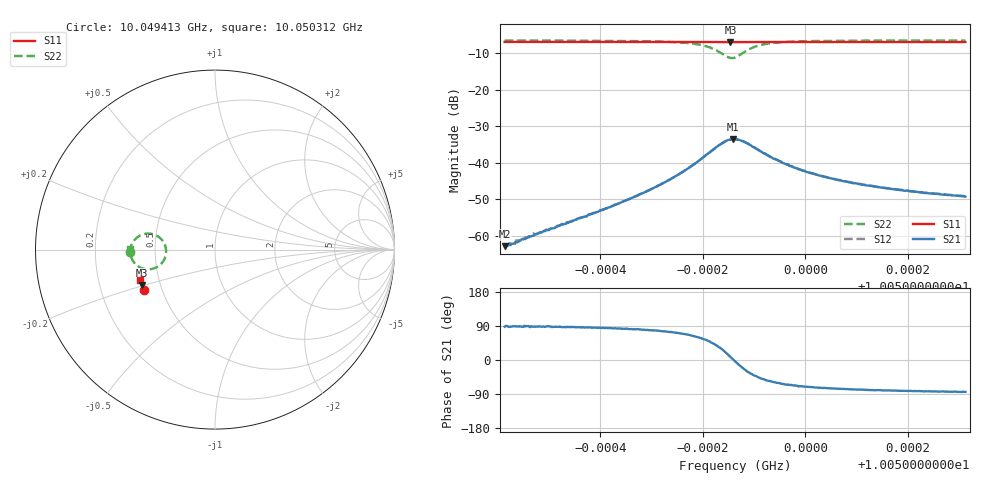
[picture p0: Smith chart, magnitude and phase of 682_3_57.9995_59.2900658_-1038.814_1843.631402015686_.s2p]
#  HZ  S  RI  R  50.00
! Rohde & Schwarz Vector Network Analyzer
! Rohde-Schwarz,ZNB20-2Port,1311601062101988,3.16
! Created: UTC 3/21/2024, 1:20:55 AM
! freq[Hz]  re:S11  im:S11  re:S21  im:S21  re:S12  im:S12  re:S22  im:S22
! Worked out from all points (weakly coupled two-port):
!   401 points, 10.049413 GHz to 10.050312 GHz, reference 50 ohm
!   highest |S21| = -33.54 dB at 10.049858 GHz (marker M1); lowest = -62.9 dB at 10.049413 GHz (marker M2)
!   lowest |S11| = -6.9 dB at 10.049854 GHz (marker M3), VSWR 2.64, Z = 19.8 - j9.75 ohm
!   |S11| at or under -10 dB: nowhere
!   |S22| runs from -11.3 to -6.5 dB; largest |S21 - S12| = 0.0017
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1.00494133e10  -0.3952 -0.2235  2.67e-05 0.000714  -4.86e-05 0.000714  -0.474 -0.0156
1.0049429e10  -0.3958 -0.2224  1.04e-05 0.00077  -6.73e-05 0.000811  -0.4738 -0.0138
1.0049465e10  -0.397 -0.2202  1.84e-05 0.000972  -4e-05 0.00101  -0.4735 -0.00951
1.00494762e10  -0.3973 -0.2198  2.74e-05 0.00106  -2.18e-05 0.00105  -0.4735 -0.00814
1.00495639e10  -0.3999 -0.2144  0.000119 0.00179  2.5e-05 0.00178  -0.4716 0.00435
1.00496335e10  -0.4019 -0.2103  0.000345 0.00268  0.000157 0.00273  -0.4682 0.0176
1.00497145e10  -0.4042 -0.2053  0.00111 0.00477  0.000828 0.00483  -0.4574 0.0416
1.00497594e10  -0.4053 -0.2022  0.00259 0.00689  0.00215 0.00703  -0.4401 0.0629
1.00497999e10  -0.4062 -0.1996  0.00656 0.00979  0.00592 0.01  -0.3979 0.0861
1.00498291e10  -0.4062 -0.1976  0.0136 0.00991  0.013 0.0107  -0.33 0.0804
1.00498448e10  -0.4061 -0.197  0.0188 0.00654  0.0181 0.00778  -0.2875 0.0426
1.00498538e10  -0.4059 -0.1966  0.0206 0.00299  0.0201 0.00441  -0.2738 0.00653
1.00498583e10  -0.4059 -0.1966  0.021 0.000878  0.0209 0.0024  -0.2724 -0.0134
1.00498628e10  -0.4061 -0.1965  0.021 -0.00123  0.021 0.000293  -0.275 -0.0332
1.00498853e10  -0.4069 -0.1961  0.0163 -0.00899  0.017 -0.00777  -0.3293 -0.1002
1.0049901e10  -0.4079 -0.1953  0.012 -0.0105  0.0129 -0.00984  -0.3728 -0.1101
1.00499167e10  -0.4087 -0.1945  0.00875 -0.0105  0.00957 -0.01  -0.4041 -0.1048
1.00499662e10  -0.4106 -0.1914  0.00401 -0.00841  0.00453 -0.00836  -0.4495 -0.0738
1.00500134e10  -0.412 -0.1884  0.00224 -0.00675  0.00266 -0.00664  -0.4632 -0.0523
1.00500898e10  -0.414 -0.1838  0.00114 -0.00517  0.0015 -0.00517  -0.4712 -0.0305
1.0050164e10  -0.4159 -0.1792  0.000747 -0.00436  0.000997 -0.00431  -0.4738 -0.0168
1.00503123e10  -0.4194 -0.17  0.000346 -0.00341  0.000542 -0.00343  -0.4753 0.00224
